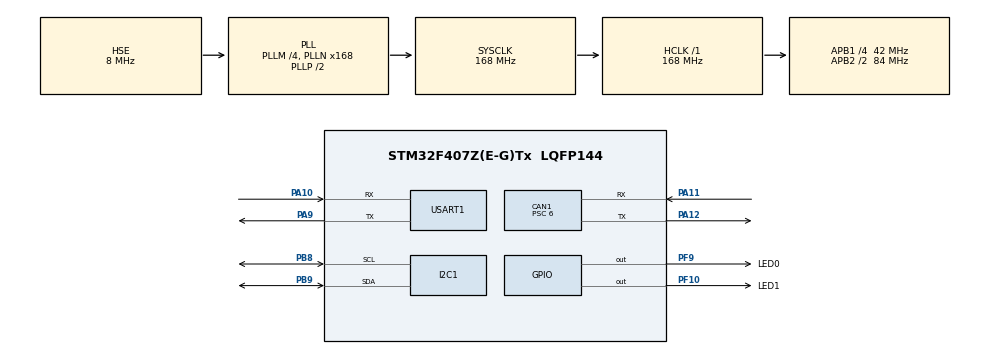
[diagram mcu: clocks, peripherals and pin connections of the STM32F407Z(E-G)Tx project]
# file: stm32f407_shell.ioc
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CAN1.BS1=CAN_BS1_10TQ
CAN1.BS2=CAN_BS2_3TQ
CAN1.CalculateBaudRate=500000
CAN1.CalculateTimeBit=2000
CAN1.CalculateTimeQuantum=142.85714285714286
CAN1.Prescaler=6
CAN1.SJW=CAN_SJW_1TQ
Mcu.Family=STM32F4
Mcu.Name=STM32F407Z(E-G)Tx
Mcu.Package=LQFP144
NVIC.PriorityGroup=NVIC_PRIORITYGROUP_4
NVIC.USART1_IRQn=true\:0\:0\:false\:false\:true\:true\:true\:true
PA10.Mode=Asynchronous
PA10.Signal=USART1_RX
PA11.Mode=CAN_Activate
PA11.Signal=CAN1_RX
PA12.Mode=CAN_Activate
PA12.Signal=CAN1_TX
PA9.Mode=Asynchronous
PA9.Signal=USART1_TX
PB8.Mode=I2C
PB8.Signal=I2C1_SCL
PB9.Mode=I2C
PB9.Signal=I2C1_SDA
PF10.GPIO_Label=LED1
PF10.Signal=GPIO_Output
PF9.GPIO_Label=LED0
PF9.Signal=GPIO_Output
PH0-OSC_IN.Mode=HSE-External-Oscillator
PH0-OSC_IN.Signal=RCC_OSC_IN
PH1-OSC_OUT.Mode=HSE-External-Oscillator
PH1-OSC_OUT.Signal=RCC_OSC_OUT
ProjectManager.HeapSize=0x200
ProjectManager.StackSize=0x400
ProjectManager.TargetToolchain=MDK-ARM V5.32
RCC.48MHZClocksFreq_Value=84000000
RCC.AHBFreq_Value=168000000
RCC.APB1CLKDivider=RCC_HCLK_DIV4
RCC.APB1Freq_Value=42000000
RCC.APB1TimFreq_Value=84000000
RCC.APB2CLKDivider=RCC_HCLK_DIV2
RCC.APB2Freq_Value=84000000
RCC.APB2TimFreq_Value=168000000
RCC.CortexFreq_Value=168000000
RCC.HCLKFreq_Value=168000000
RCC.HSE_VALUE=8000000
RCC.HSI_VALUE=16000000
RCC.LSE_VALUE=32768
RCC.PLLM=4
RCC.PLLN=168
RCC.PLLSourceVirtual=RCC_PLLSOURCE_HSE
RCC.SYSCLKFreq_VALUE=168000000
RCC.SYSCLKSource=RCC_SYSCLKSOURCE_PLLCLK
RCC.VCOOutputFreq_Value=336000000
USART1.VirtualMode=VM_ASYNC
board=custom

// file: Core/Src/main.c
/* USER CODE BEGIN Header */
/**
  ******************************************************************************
  * @file           : main.c
  * @brief          : Main program body
  ******************************************************************************
  * @attention
  *
  * Copyright (c) 2026 STMicroelectronics.
  * All rights reserved.
  *
  * This software is licensed under terms that can be found in the LICENSE file
  * in the root directory of this software component.
  * If no LICENSE file comes with this software, it is provided AS-IS.
  *
  ******************************************************************************
  */
/* USER CODE END Header */
#include "main.h"
#include "can.h"
#include "i2c.h"
#include "usart.h"
#include "gpio.h"

/* USER CODE BEGIN Includes */
#include "ring.h"
#include "shell.h"
/* USER CODE END Includes */

/* USER CODE BEGIN PV */
ring uart_rx_ring;
char ring_buf[512];
SHELL_TypeDef shell;
/* USER CODE END PV */

void SystemClock_Config(void);

/* USER CODE BEGIN 0 */
signed char myShellRead(char *c)
{
	if (ring_poll(&uart_rx_ring, c) == 0) //�ӻ��λ�����������
		return 0;
	else
		return -1;
}

void myShellWrite(const char c)
{
	HAL_UART_Transmit(&huart1, (uint8_t *)&c, 1, 1000);
}
/* USER CODE END 0 */

int main(void)
{

  /* MCU Configuration--------------------------------------------------------*/

  /* Reset of all peripherals, Initializes the Flash interface and the Systick. */
  HAL_Init();

  /* Configure the system clock */
  SystemClock_Config();

  /* USER CODE BEGIN SysInit */
	ring_init(&uart_rx_ring,ring_buf,512);
  /* USER CODE END SysInit */

  /* Initialize all configured peripherals */
  MX_GPIO_Init();
  MX_USART1_UART_Init();
  MX_I2C1_Init();
  MX_CAN1_Init();
  /* USER CODE BEGIN 2 */

	shell.read = myShellRead;
	shell.write = myShellWrite;
	shellInit(&shell);

  /* USER CODE END 2 */

  /* Infinite loop */
  /* USER CODE BEGIN WHILE */
  uint32_t shellTick = HAL_GetTick();

  while (1)
  {
    /* USER CODE END WHILE */

    /* USER CODE BEGIN 3 */
    if (HAL_GetTick() - shellTick >= 10)
    {
      shellTick = HAL_GetTick();
      shellTask(&shell);
    }
  }
  /* USER CODE END 3 */
}

void SystemClock_Config(void)
{
  RCC_OscInitTypeDef RCC_OscInitStruct = {0};
  RCC_ClkInitTypeDef RCC_ClkInitStruct = {0};

  /** Configure the main internal regulator output voltage
  */
  __HAL_RCC_PWR_CLK_ENABLE();
  __HAL_PWR_VOLTAGESCALING_CONFIG(PWR_REGULATOR_VOLTAGE_SCALE1);

  /** Initializes the RCC Oscillators according to the specified parameters
  * in the RCC_OscInitTypeDef structure.
  */
  RCC_OscInitStruct.OscillatorType = RCC_OSCILLATORTYPE_HSE;
  RCC_OscInitStruct.HSEState = RCC_HSE_ON;
  RCC_OscInitStruct.PLL.PLLState = RCC_PLL_ON;
  RCC_OscInitStruct.PLL.PLLSource = RCC_PLLSOURCE_HSE;
  RCC_OscInitStruct.PLL.PLLM = 4;
  RCC_OscInitStruct.PLL.PLLN = 168;
  RCC_OscInitStruct.PLL.PLLP = RCC_PLLP_DIV2;
  RCC_OscInitStruct.PLL.PLLQ = 4;
  if (HAL_RCC_OscConfig(&RCC_OscInitStruct) != HAL_OK)
  {
    Error_Handler();
  }

  /** Initializes the CPU, AHB and APB buses clocks
  */
  RCC_ClkInitStruct.ClockType = RCC_CLOCKTYPE_HCLK|RCC_CLOCKTYPE_SYSCLK
                              |RCC_CLOCKTYPE_PCLK1|RCC_CLOCKTYPE_PCLK2;
  RCC_ClkInitStruct.SYSCLKSource = RCC_SYSCLKSOURCE_PLLCLK;
  RCC_ClkInitStruct.AHBCLKDivider = RCC_SYSCLK_DIV1;
  RCC_ClkInitStruct.APB1CLKDivider = RCC_HCLK_DIV4;
  RCC_ClkInitStruct.APB2CLKDivider = RCC_HCLK_DIV2;

  if (HAL_RCC_ClockConfig(&RCC_ClkInitStruct, FLASH_LATENCY_5) != HAL_OK)
  {
    Error_Handler();
  }
}

void Error_Handler(void)
{
  __disable_irq();
  while (1)
  {
  }
}
